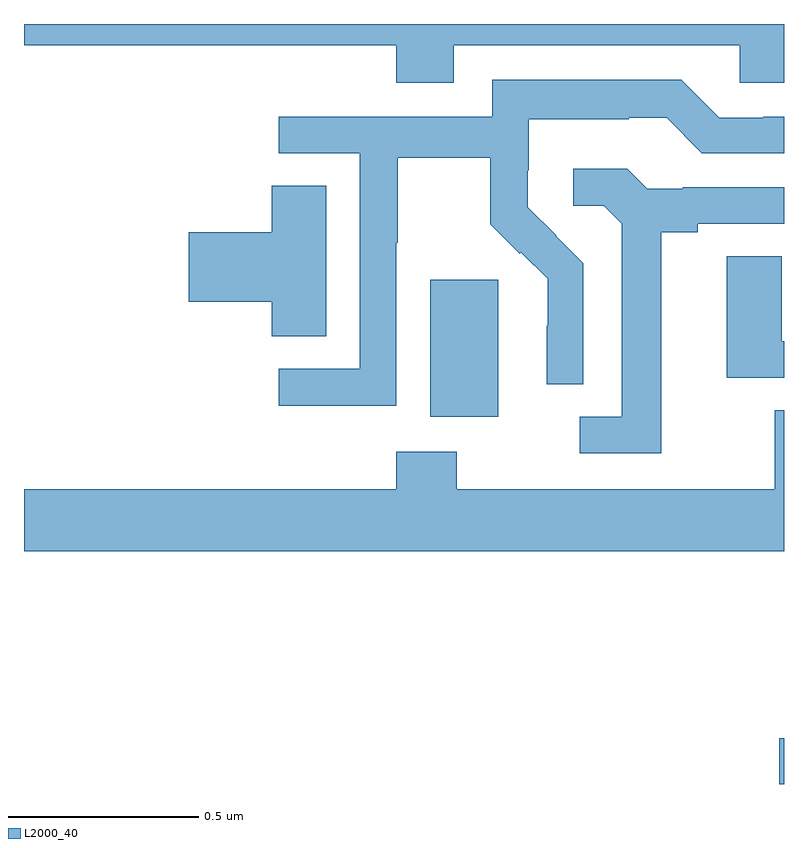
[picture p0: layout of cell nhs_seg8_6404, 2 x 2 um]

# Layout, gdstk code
import gdstk
lib = gdstk.Library(unit=1e-6, precision=1e-09)
def R(c, l, rs):  # rectangles x0, y0, x1, y1
    for r in rs: c.add(gdstk.rectangle(r[:2], r[2:], *l))
def P(c, l, *ps):  # polygons
    for p in ps: c.add(gdstk.Polygon(p, *l))
L2000_40 = (2000, 40)

nhs_seg8_6404 = lib.new_cell('nhs_seg8_6404')
R(nhs_seg8_6404, L2000_40, [(197.988,1103.9,198,1104.02), (197.069,1104.866,197.248,1105.227)])
P(nhs_seg8_6404, L2000_40, [(197.131,1105.844),(197.883,1105.844),(197.883,1105.746),(198,1105.746),(198,1105.9),(196,1105.9),(196,1105.844),(196.979,1105.844),(196.979,1105.745),(197.131,1105.745)],
  [(196.98,1105.324),(196.983,1105.324),(196.983,1105.548),(197.227,1105.548),(197.227,1105.373),(197.304,1105.296),(197.307,1105.299),(197.378,1105.229),(197.378,1105.106),(197.376,1105.106),(197.376,1104.952),(197.472,1104.952),(197.472,1105.27),(197.399,1105.343),(197.4,1105.344),(197.326,1105.418),(197.326,1105.515),(197.328,1105.515),(197.328,1105.649),(197.591,1105.649),(197.591,1105.653),(197.691,1105.653),(197.784,1105.56),(198,1105.56),(198,1105.656),(197.945,1105.656),(197.945,1105.653),(197.829,1105.653),(197.729,1105.753),(197.232,1105.753),(197.232,1105.656),(196.671,1105.656),(196.671,1105.56),(196.884,1105.56),(196.884,1104.993),(196.671,1104.993),(196.671,1104.895),(196.98,1104.895)],
  [(197.677,1105.352),(197.773,1105.352),(197.773,1105.374),(198,1105.374),(198,1105.47),(197.734,1105.47),(197.734,1105.467),(197.64,1105.467),(197.588,1105.519),(197.445,1105.519),(197.445,1105.422),(197.526,1105.422),(197.573,1105.375),(197.573,1104.867),(197.463,1104.867),(197.463,1104.771),(197.677,1104.771)],
  [(196.795,1105.475),(196.652,1105.475),(196.652,1105.352),(196.434,1105.352),(196.434,1105.169),(196.652,1105.169),(196.652,1105.078),(196.795,1105.078)],
  [(198,1105.065),(197.994,1105.065),(197.994,1105.289),(197.849,1105.289),(197.849,1104.969),(198,1104.969)],
  [(198,1104.884),(197.975,1104.884),(197.975,1104.676),(197.139,1104.676),(197.139,1104.775),(196.979,1104.775),(196.979,1104.676),(196,1104.676),(196,1104.512),(198,1104.512)])

lib.write_gds('nhs_seg8_6404.gds')
